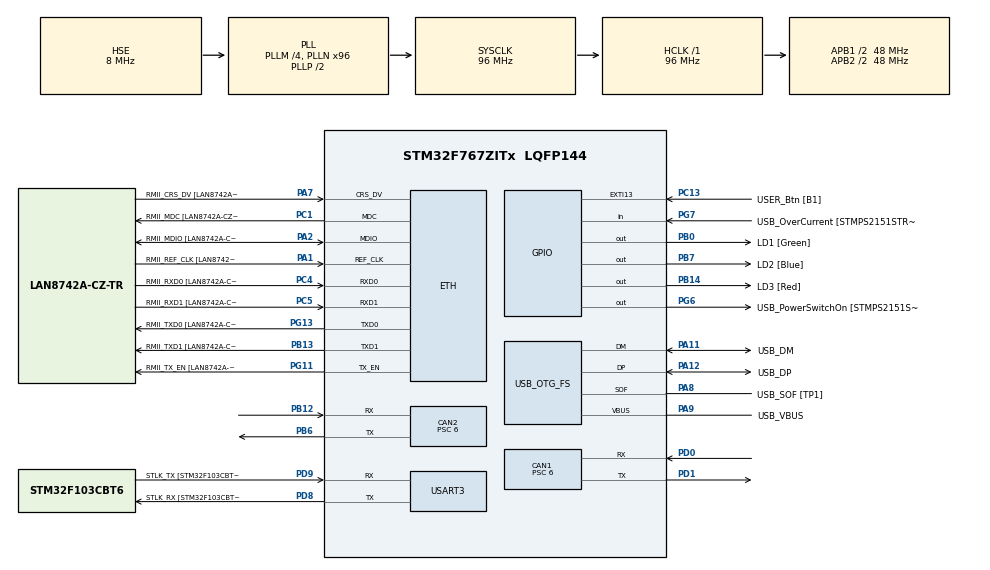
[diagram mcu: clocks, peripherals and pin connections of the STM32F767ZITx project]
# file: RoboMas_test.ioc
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CAN1.BS1=CAN_BS1_6TQ
CAN1.CalculateBaudRate=1000000
CAN1.CalculateTimeBit=1000
CAN1.CalculateTimeQuantum=125.0
CAN1.Prescaler=6
CAN1.TXFP=ENABLE
CAN2.BS1=CAN_BS1_6TQ
CAN2.CalculateBaudRate=1000000
CAN2.CalculateTimeBit=1000
CAN2.CalculateTimeQuantum=125.0
CAN2.Prescaler=6
CAN2.TXFP=ENABLE
Dma.Request0=USART3_TX
Dma.USART3_TX.0.Direction=DMA_MEMORY_TO_PERIPH
Dma.USART3_TX.0.FIFOMode=DMA_FIFOMODE_DISABLE
Dma.USART3_TX.0.Instance=DMA1_Stream3
Dma.USART3_TX.0.MemDataAlignment=DMA_MDATAALIGN_BYTE
Dma.USART3_TX.0.MemInc=DMA_MINC_ENABLE
Dma.USART3_TX.0.Mode=DMA_NORMAL
Dma.USART3_TX.0.PeriphDataAlignment=DMA_PDATAALIGN_BYTE
Dma.USART3_TX.0.PeriphInc=DMA_PINC_DISABLE
Dma.USART3_TX.0.Priority=DMA_PRIORITY_LOW
ETH.MediaInterface=HAL_ETH_RMII_MODE
ETH.PHY_Name=LAN8742A_PHY_ADDRESS
ETH.PHY_Value=0
ETH.PhyAddress=0
Mcu.Family=STM32F7
Mcu.Name=STM32F767ZITx
Mcu.Package=LQFP144
NVIC.CAN1_RX0_IRQn=true\:0\:0\:false\:false\:true\:true\:true\:true
NVIC.CAN1_RX1_IRQn=true\:0\:0\:false\:false\:true\:true\:true\:true
NVIC.CAN1_TX_IRQn=true\:0\:0\:false\:false\:true\:true\:true\:true
NVIC.CAN2_RX0_IRQn=true\:0\:0\:false\:false\:true\:true\:true\:true
NVIC.CAN2_RX1_IRQn=true\:0\:0\:false\:false\:true\:true\:true\:true
NVIC.CAN2_TX_IRQn=true\:0\:0\:false\:false\:true\:true\:true\:true
NVIC.DMA1_Stream3_IRQn=true\:0\:0\:false\:false\:true\:false\:true\:true
NVIC.PriorityGroup=NVIC_PRIORITYGROUP_4
NVIC.USART3_IRQn=true\:0\:0\:false\:false\:true\:true\:true\:true
PA1.GPIO_Label=RMII_REF_CLK [LAN8742A-CZ-TR_REFCLK0]
PA1.Mode=RMII
PA1.Signal=ETH_REF_CLK
PA10.GPIO_Label=USB_ID
PA10.Signal=USB_OTG_FS_ID
PA11.GPIO_Label=USB_DM
PA11.Mode=Device_Only
PA11.Signal=USB_OTG_FS_DM
PA12.GPIO_Label=USB_DP
PA12.Mode=Device_Only
PA12.Signal=USB_OTG_FS_DP
PA13.GPIO_Label=TMS
PA13.Mode=Serial_Wire
PA13.Signal=SYS_JTMS-SWDIO
PA14.GPIO_Label=TCK
PA14.Mode=Serial_Wire
PA14.Signal=SYS_JTCK-SWCLK
PA2.GPIO_Label=RMII_MDIO [LAN8742A-CZ-TR_MDIO]
PA2.Mode=RMII
PA2.Signal=ETH_MDIO
PA7.GPIO_Label=RMII_CRS_DV [LAN8742A-CZ-TR_CRS_DV]
PA7.Mode=RMII
PA7.Signal=ETH_CRS_DV
PA8.GPIO_Label=USB_SOF [TP1]
PA8.Mode=Activate_SOF_FS
PA8.Signal=USB_OTG_FS_SOF
PA9.GPIO_Label=USB_VBUS
PA9.Mode=Activate_VBUS
PA9.Signal=USB_OTG_FS_VBUS
PB0.GPIO_Label=LD1 [Green]
PB0.Signal=GPIO_Output
PB12.Mode=CAN_Activate
PB12.Signal=CAN2_RX
PB13.GPIO_Label=RMII_TXD1 [LAN8742A-CZ-TR_TXD1]
PB13.Mode=RMII
PB13.Signal=ETH_TXD1
PB14.GPIO_Label=LD3 [Red]
PB14.Signal=GPIO_Output
PB3.GPIO_Label=SWO
PB3.Signal=SYS_JTDO-SWO
PB6.Mode=CAN_Activate
PB6.Signal=CAN2_TX
PB7.GPIO_Label=LD2 [Blue]
PB7.Signal=GPIO_Output
PC1.GPIO_Label=RMII_MDC [LAN8742A-CZ-TR_MDC]
PC1.Mode=RMII
PC1.Signal=ETH_MDC
PC13.GPIO_Label=USER_Btn [B1]
PC13.Signal=GPXTI13
PC14/OSC32_IN.Mode=LSE-External-Oscillator
PC14/OSC32_IN.Signal=RCC_OSC32_IN
PC15/OSC32_OUT.Mode=LSE-External-Oscillator
PC15/OSC32_OUT.Signal=RCC_OSC32_OUT
PC4.GPIO_Label=RMII_RXD0 [LAN8742A-CZ-TR_RXD0]
PC4.Mode=RMII
PC4.Signal=ETH_RXD0
PC5.GPIO_Label=RMII_RXD1 [LAN8742A-CZ-TR_RXD1]
PC5.Mode=RMII
PC5.Signal=ETH_RXD1
PD0.Mode=CAN_Activate
PD0.Signal=CAN1_RX
PD1.Mode=CAN_Activate
PD1.Signal=CAN1_TX
PD8.GPIO_Label=STLK_RX [STM32F103CBT6_PA3]
PD8.Mode=Asynchronous
PD8.Signal=USART3_TX
PD9.GPIO_Label=STLK_TX [STM32F103CBT6_PA2]
PD9.Mode=Asynchronous
PD9.Signal=USART3_RX
PG11.GPIO_Label=RMII_TX_EN [LAN8742A-CZ-TR_TXEN]
PG11.Mode=RMII
PG11.Signal=ETH_TX_EN
PG13.GPIO_Label=RMII_TXD0 [LAN8742A-CZ-TR_TXD0]
PG13.Mode=RMII
PG13.Signal=ETH_TXD0
PG6.GPIO_Label=USB_PowerSwitchOn [STMPS2151STR_EN]
PG6.Signal=GPIO_Output
PG7.GPIO_Label=USB_OverCurrent [STMPS2151STR_FAULT]
PG7.Signal=GPIO_Input
PH0/OSC_IN.GPIO_Label=MCO [STM32F103CBT6_PA8]
PH0/OSC_IN.Mode=HSE-External-Clock-Source
PH0/OSC_IN.Signal=RCC_OSC_IN
PH1/OSC_OUT.Mode=HSE-External-Clock-Source
PH1/OSC_OUT.Signal=RCC_OSC_OUT
ProjectManager.HeapSize=0x200
ProjectManager.StackSize=0x400
ProjectManager.TargetToolchain=STM32CubeIDE
RCC.48MHZClocksFreq_Value=24000000
RCC.AHBFreq_Value=96000000
RCC.APB1CLKDivider=RCC_HCLK_DIV2
RCC.APB1Freq_Value=48000000
RCC.APB1TimFreq_Value=96000000
RCC.APB2CLKDivider=RCC_HCLK_DIV2
RCC.APB2Freq_Value=48000000
RCC.APB2TimFreq_Value=96000000
RCC.CortexFreq_Value=96000000
RCC.HCLKFreq_Value=96000000
RCC.HSE_VALUE=8000000
RCC.HSI_VALUE=16000000
RCC.PLLM=4
RCC.PLLMUL=RCC_PLL_MUL9
RCC.PLLN=96
RCC.PLLQ=4
RCC.PRESCALERUSB=RCC_USBCLKSOURCE_PLL_DIV1_5
RCC.SYSCLKFreq_VALUE=96000000
RCC.SYSCLKSource=RCC_SYSCLKSOURCE_PLLCLK
RCC.SYSCLKSourceVirtual=RCC_SYSCLKSOURCE_PLLCLK
RCC.USBFreq_Value=48000000
RCC.VCOOutputFreq_Value=192000000
USART3.VirtualMode-Asynchronous=VM_ASYNC
USB_OTG_FS.VirtualMode=Device_Only
board=NUCLEO-F767ZI

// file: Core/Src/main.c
/* USER CODE BEGIN Header */
/**
  ******************************************************************************
  * @file           : main.c
  * @brief          : Main program body
  ******************************************************************************
  * @attention
  *
  * Copyright (c) 2024 STMicroelectronics.
  * All rights reserved.
  *
  * This software is licensed under terms that can be found in the LICENSE file
  * in the root directory of this software component.
  * If no LICENSE file comes with this software, it is provided AS-IS.
  *
  ******************************************************************************
  */
/* USER CODE END Header */
#include "main.h"
#include "string.h"

/* USER CODE BEGIN Includes */
#include "stdio.h"
#include "CAN_Main.h"
#include "CAN_C620.h"
/* USER CODE END Includes */

/* USER CODE BEGIN PD */
#define DISABLE_CAN_WAIT_CONNECT 0
#define DISABLE_C620_WAIT_CONNECT 0

//#define mcmd
#define c620
//適宜コメントアウト

/* USER CODE END PD */

#if defined ( __ICCARM__ ) /*!< IAR Compiler */
#pragma location=0x2007c000
ETH_DMADescTypeDef  DMARxDscrTab[ETH_RX_DESC_CNT]; /* Ethernet Rx DMA Descriptors */
#pragma location=0x2007c0a0
ETH_DMADescTypeDef  DMATxDscrTab[ETH_TX_DESC_CNT]; /* Ethernet Tx DMA Descriptors */

#elif defined ( __CC_ARM )  /* MDK ARM Compiler */

__attribute__((at(0x2007c000))) ETH_DMADescTypeDef  DMARxDscrTab[ETH_RX_DESC_CNT]; /* Ethernet Rx DMA Descriptors */
__attribute__((at(0x2007c0a0))) ETH_DMADescTypeDef  DMATxDscrTab[ETH_TX_DESC_CNT]; /* Ethernet Tx DMA Descriptors */

#elif defined ( __GNUC__ ) /* GNU Compiler */
ETH_DMADescTypeDef DMARxDscrTab[ETH_RX_DESC_CNT] __attribute__((section(".RxDecripSection"))); /* Ethernet Rx DMA Descriptors */
ETH_DMADescTypeDef DMATxDscrTab[ETH_TX_DESC_CNT] __attribute__((section(".TxDecripSection")));   /* Ethernet Tx DMA Descriptors */

#endif

ETH_TxPacketConfig TxConfig;

CAN_HandleTypeDef hcan1;
CAN_HandleTypeDef hcan2;

ETH_HandleTypeDef heth;

UART_HandleTypeDef huart3;
DMA_HandleTypeDef hdma_usart3_tx;

PCD_HandleTypeDef hpcd_USB_OTG_FS;

/* USER CODE BEGIN PV */
#ifdef mcmd
NUM_OF_DEVICES num_of_devices;

MCMD_HandleTypedef mcmd4_struct;

MCMD_Feedback_Typedef mcmd_fb;
#endif

#ifdef c620
uint8_t num_of_c620 = 1;

C620_DeviceInfo c620_dev_info_global[8];

C620_FeedbackData c620_fb[8];
#endif

/* USER CODE END PV */

void SystemClock_Config(void);
static void MX_GPIO_Init(void);
static void MX_DMA_Init(void);
static void MX_USART3_UART_Init(void);
static void MX_ETH_Init(void);
static void MX_CAN1_Init(void);
static void MX_CAN2_Init(void);
static void MX_USB_OTG_FS_PCD_Init(void);

/* USER CODE BEGIN 0 */

#ifdef __GNUC__
#define PUTCHAR_PROTOTYPE int __io_putchar(uint8_t ch)
#else
#define PUTCHAR_PROTOTYPE int fputc(int ch, FILE *f)
#endif /* __GNUC__ */

PUTCHAR_PROTOTYPE {
    HAL_UART_Transmit(&huart3, &ch, 1, 500);
    return ch;
}

#if defined(mcmd) || defined(c620)
void HAL_CAN_TxMailbox0CompleteCallback(CAN_HandleTypeDef *hcan){
    C620_WhenTxMailboxCompleteCallbackCalled(hcan);
    CANLib_WhenTxMailbox0_1_2CompleteCallbackCalled(hcan);
}

void HAL_CAN_TxMailbox0AbortCallback(CAN_HandleTypeDef *hcan){
    C620_WhenTxMailboxAbortCallbackCalled(hcan);
    CANLib_WhenTxMailbox0_1_2AbortCallbackCalled(hcan);
}

void HAL_CAN_TxMailbox1CompleteCallback(CAN_HandleTypeDef *hcan){
    C620_WhenTxMailboxCompleteCallbackCalled(hcan);
    CANLib_WhenTxMailbox0_1_2CompleteCallbackCalled(hcan);
}

void HAL_CAN_TxMailbox1AbortCallback(CAN_HandleTypeDef *hcan){
    C620_WhenTxMailboxAbortCallbackCalled(hcan);
    CANLib_WhenTxMailbox0_1_2AbortCallbackCalled(hcan);
}

void HAL_CAN_TxMailbox2CompleteCallback(CAN_HandleTypeDef *hcan){
    C620_WhenTxMailboxCompleteCallbackCalled(hcan);
    CANLib_WhenTxMailbox0_1_2CompleteCallbackCalled(hcan);
}

void HAL_CAN_TxMailbox2AbortCallback(CAN_HandleTypeDef *hcan){
    C620_WhenTxMailboxAbortCallbackCalled(hcan);
    CANLib_WhenTxMailbox0_1_2AbortCallbackCalled(hcan);
}
#endif

#ifdef mcmd
void HAL_CAN_RxFifo0MsgPendingCallback(CAN_HandleTypeDef *hcan){
    WhenCANRxFifo0MsgPending(hcan, &num_of_devices);
}
#endif

#ifdef c620
void HAL_CAN_RxFifo1MsgPendingCallback(CAN_HandleTypeDef *hcan){
    C620_WhenCANRxFifo1MsgPending(hcan);
}
#endif

/* USER CODE END 0 */

int main(void)
{

  /* MCU Configuration--------------------------------------------------------*/

  /* Reset of all peripherals, Initializes the Flash interface and the Systick. */
  HAL_Init();

  /* Configure the system clock */
  SystemClock_Config();

  /* Initialize all configured peripherals */
  MX_GPIO_Init();
  MX_DMA_Init();
  MX_USART3_UART_Init();
  MX_ETH_Init();
  MX_CAN1_Init();
  MX_CAN2_Init();
  MX_USB_OTG_FS_PCD_Init();
  /* USER CODE BEGIN 2 */

  setbuf(stdout, NULL);
  setbuf(stderr, NULL);

#ifdef mcmd
  printf("Start Initializing CAN System:Begin\n\r");
  HAL_Delay(100);

  CAN_SystemInit(&hcan2); // F7のCAN通信のinit

   // デバイス数の設定 (今回はmcmd4が1枚)
  num_of_devices.mcmd3 = 1;
  num_of_devices.mcmd4 = 0;
  num_of_devices.air = 0;
  num_of_devices.servo = 0;

  printf("Start Initializing CAN System:End\n\r");
  HAL_Delay(100);
  if(!DISABLE_CAN_WAIT_CONNECT)CAN_WaitConnect(&num_of_devices);  // 設定された全てのCANモジュール基板との接続が確認できるまで待機

	   // ここからはCANモジュール基板の設定
	 // 接続先のMCMDの設定
	 mcmd4_struct.device.node_type = NODE_MCMD3;  // nodeのタイプ (NODE_MCMD3など)
	 mcmd4_struct.device.node_id = 1;  // 基板の番号 (基板上の半固定抵抗を回す事で設定できる)
	 mcmd4_struct.device.device_num = 0;  // モーターの番号(MCMDなら0と1の2つが選べる)

	 // 制御パラメータの設定
	 mcmd4_struct.ctrl_param.ctrl_type = MCMD_CTRL_DUTY;  // 位置制御を行う
	 mcmd4_struct.ctrl_param.PID_param.kp = 0.10f;  // Pゲイン 0.10
	 mcmd4_struct.ctrl_param.PID_param.ki = 0.0f;  // Iゲイン 0.0
	 mcmd4_struct.ctrl_param.PID_param.kd = 0.0f;  // Dゲイン 0.0 (Dゲインは使いにくい)
	 mcmd4_struct.ctrl_param.accel_limit = ACCEL_LIMIT_ENABLE;  // PIDの偏差をclipするか
	 mcmd4_struct.ctrl_param.accel_limit_size = 2.0f;  // PIDの偏差をclipする場合の絶対値のmax値
	 mcmd4_struct.ctrl_param.feedback = MCMD_FB_ENABLE;  // MCMDからF7にフィードバックを送信するか否か
	 mcmd4_struct.ctrl_param.timup_monitor = TIMUP_MONITOR_DISABLE;  // timeupは未実装なのでDISABLE。
	 mcmd4_struct.enc_dir = MCMD_DIR_FW;  // Encoderの回転方向設定
	 mcmd4_struct.rot_dir = MCMD_DIR_FW;  // モーターの回転方向設定
	 mcmd4_struct.quant_per_unit = 0.00205f;  // エンコーダーの分解能に対する制御値の変化量の割合

	 // 原点サーチの設定
	 mcmd4_struct.limit_sw_type = LIMIT_SW_NC;  // 原点サーチにNomaly Closedのスイッチを用いる
	 mcmd4_struct.calib = CALIBRATION_DISABLE;  // 原点サーチを行う。
	 mcmd4_struct.calib_duty = -0.1f;  // 原点サーチ時のduty
	 mcmd4_struct.offset = 0.0f;  // 原点のオフセット
	 mcmd4_struct.fb_type = MCMD_FB_POS;  // 読み取った位置情報をF7にフィードバックする。

	 // パラメータなどの設定と動作命令をMCMDに送信する
	MCMD_init(&mcmd4_struct);
	HAL_Delay(10);
	MCMD_Calib(&mcmd4_struct);  // キャリブレーションを行う
	HAL_Delay(2000);  // キャリブレーションが終わるまで待つ
	MCMD_SetTarget(&mcmd4_struct, 0.0f);  // 目標値(0.0)を設定
	HAL_Delay(10);
	MCMD_Control_Enable(&mcmd4_struct);  // 制御開始
	HAL_Delay(10);
    MCMD_SetTarget(&mcmd4_struct, 0.10f);
    HAL_Delay(10);
#endif

#ifdef c620
//   printf("Start Initializing CAN System for C620:Begin\n\r");
//   HAL_Delay(100);
//
//   CAN_SystemInit(&hcan1);
//
//   printf("Start Initializing CAN System for C620:End\n\r");
//   HAL_Delay(100);
//   C620_WaitForConnect(c620_dev_info_global, num_of_c620);  // C620の接続待ち

    HAL_GPIO_TogglePin(GPIOB, GPIO_PIN_0);  // LD1 (GREEN) ON
    Init_C620_CAN_System(&hcan1);  // Init CAN System for C620
    C620_Init(c620_dev_info_global, num_of_c620);

   c620_dev_info_global[0].device_id = 1;  // 1スタートな事に注意
   c620_dev_info_global[0].ctrl_param.accel_limit = C620_ACCEL_LIMIT_ENABLE;
//   c620_dev_info_global[0].ctrl_param.use_internal_offset = C620_USE_OFFSET_POS_DISABLE;
//   c620_dev_info_global[0].ctrl_param.use_internal_offset = C620_USE_OFFSET_POS_INTERNAL;
   c620_dev_info_global[0].ctrl_param.use_internal_offset = C620_USE_OFFSET_POS_CALIB;
   c620_dev_info_global[0].ctrl_param.ctrl_type = C620_CTRL_POS;
   c620_dev_info_global[0].ctrl_param.accel_limit_size = 15.0f;
   c620_dev_info_global[0].ctrl_param.quant_per_rot = 1.0f/19.0f / 3.0f * 3.141592f * 2.0f;  //M3508は19:1
   c620_dev_info_global[0].ctrl_param.rotation = C620_ROT_ACW;  // 半時計周り

   c620_dev_info_global[0].ctrl_param.pid_vel.kp = 4.5f;  // 位置制御の場合はpid_velに速度制御用のgainを設定する
   c620_dev_info_global[0].ctrl_param.pid_vel.ki = 0.0f;
   c620_dev_info_global[0].ctrl_param.pid_vel.kd = 0.0f;
   c620_dev_info_global[0].ctrl_param.pid_vel.kff = 0.0f;

   c620_dev_info_global[0].ctrl_param.pid.kp = 10.0f;  // 位置制御用
   c620_dev_info_global[0].ctrl_param.pid.ki = 0.16f;
   c620_dev_info_global[0].ctrl_param.pid.kd = 0.0f;
   c620_dev_info_global[0].ctrl_param.pid.kff = 0.0f;

// TODO:Init,Calibrationの必要性
   C620_SetTarget(&c620_dev_info_global[0], 10.0f);
   HAL_Delay(10);
   if(!DISABLE_C620_WAIT_CONNECT)C620_WaitForConnect(c620_dev_info_global, num_of_c620);
   HAL_Delay(10);
//   C620_Calibration(&c620_dev_info_global[0], -1.0f, 1, GPIOG, GPIO_PIN_1, &hcan1);
//   HAL_Delay(1000);

 //   c620_send_current(&c620_dev_info_global[0], 1.0f, &hcan1);

   C620_ControlEnable(&c620_dev_info_global[0]);
   HAL_Delay(10);
   C620_SetTarget(&c620_dev_info_global[0], 1.0f);  // 目標値を設定

//   for(int i=0; i<num_of_c620; i++)C620_SetTarget(&c620_dev_info_global[i], 0.0f);
//   if(!DISABLE_C620_WAIT_CONNECT)C620_WaitForConnect(c620_dev_info_global, num_of_c620);
//    for(int i=0; i<num_of_c620; i++){
//        C620_Calibration(&c620_dev_info_global[i], -0.5f, 1, GPIOG, GPIO_PIN_1, &hcan1);
//        C620_ControlEnable(&(c620_dev_info_global[i]));
//    }
//   //for(int i=0; i<num_of_c620; i++)C620_ControlEnable(&(c620_dev_info_global[i]));
//
//
//   C620_SetTarget(&c620_dev_info_global[0],100.0f);
//   HAL_GPIO_TogglePin(GPIOB, GPIO_PIN_0);

#endif

  /* USER CODE END 2 */

  /* Infinite loop */
  /* USER CODE BEGIN WHILE */
  while (1)
  {
#ifdef mcmd
	  mcmd_fb = Get_MCMD_Feedback(&(mcmd4_struct.device));
	  printf("value of mcmd3 %d\r\n",(int)(mcmd_fb.value));
	  HAL_Delay(5);
#endif

#ifdef c620
	  for(int i=0;i<num_of_c620;i++){
		  c620_fb[i] = Get_C620_FeedbackData(&c620_dev_info_global[i]);
		  printf("value of c620[%d] %d\r\n",i,(int)(c620_fb[i].position));
		  HAL_Delay(5);
	  }
#endif
    /* USER CODE END WHILE */

  }
}

void SystemClock_Config(void)
{
  RCC_OscInitTypeDef RCC_OscInitStruct = {0};
  RCC_ClkInitTypeDef RCC_ClkInitStruct = {0};

  /** Configure LSE Drive Capability
  */
  HAL_PWR_EnableBkUpAccess();

  /** Configure the main internal regulator output voltage
  */
  __HAL_RCC_PWR_CLK_ENABLE();
  __HAL_PWR_VOLTAGESCALING_CONFIG(PWR_REGULATOR_VOLTAGE_SCALE3);

  /** Initializes the RCC Oscillators according to the specified parameters
  * in the RCC_OscInitTypeDef structure.
  */
  RCC_OscInitStruct.OscillatorType = RCC_OSCILLATORTYPE_HSE;
  RCC_OscInitStruct.HSEState = RCC_HSE_BYPASS;
  RCC_OscInitStruct.PLL.PLLState = RCC_PLL_ON;
  RCC_OscInitStruct.PLL.PLLSource = RCC_PLLSOURCE_HSE;
  RCC_OscInitStruct.PLL.PLLM = 4;
  RCC_OscInitStruct.PLL.PLLN = 96;
  RCC_OscInitStruct.PLL.PLLP = RCC_PLLP_DIV2;
  RCC_OscInitStruct.PLL.PLLQ = 4;
  RCC_OscInitStruct.PLL.PLLR = 2;
  if (HAL_RCC_OscConfig(&RCC_OscInitStruct) != HAL_OK)
  {
    Error_Handler();
  }

  /** Activate the Over-Drive mode
  */
  if (HAL_PWREx_EnableOverDrive() != HAL_OK)
  {
    Error_Handler();
  }

  /** Initializes the CPU, AHB and APB buses clocks
  */
  RCC_ClkInitStruct.ClockType = RCC_CLOCKTYPE_HCLK|RCC_CLOCKTYPE_SYSCLK
                              |RCC_CLOCKTYPE_PCLK1|RCC_CLOCKTYPE_PCLK2;
  RCC_ClkInitStruct.SYSCLKSource = RCC_SYSCLKSOURCE_PLLCLK;
  RCC_ClkInitStruct.AHBCLKDivider = RCC_SYSCLK_DIV1;
  RCC_ClkInitStruct.APB1CLKDivider = RCC_HCLK_DIV2;
  RCC_ClkInitStruct.APB2CLKDivider = RCC_HCLK_DIV2;

  if (HAL_RCC_ClockConfig(&RCC_ClkInitStruct, FLASH_LATENCY_3) != HAL_OK)
  {
    Error_Handler();
  }
}

static void MX_CAN1_Init(void)
{

  hcan1.Instance = CAN1;
  hcan1.Init.Prescaler = 6;
  hcan1.Init.Mode = CAN_MODE_NORMAL;
  hcan1.Init.SyncJumpWidth = CAN_SJW_1TQ;
  hcan1.Init.TimeSeg1 = CAN_BS1_6TQ;
  hcan1.Init.TimeSeg2 = CAN_BS2_1TQ;
  hcan1.Init.TimeTriggeredMode = DISABLE;
  hcan1.Init.AutoBusOff = DISABLE;
  hcan1.Init.AutoWakeUp = DISABLE;
  hcan1.Init.AutoRetransmission = DISABLE;
  hcan1.Init.ReceiveFifoLocked = DISABLE;
  hcan1.Init.TransmitFifoPriority = ENABLE;
  if (HAL_CAN_Init(&hcan1) != HAL_OK)
  {
    Error_Handler();
  }

}

static void MX_CAN2_Init(void)
{

  hcan2.Instance = CAN2;
  hcan2.Init.Prescaler = 6;
  hcan2.Init.Mode = CAN_MODE_NORMAL;
  hcan2.Init.SyncJumpWidth = CAN_SJW_1TQ;
  hcan2.Init.TimeSeg1 = CAN_BS1_6TQ;
  hcan2.Init.TimeSeg2 = CAN_BS2_1TQ;
  hcan2.Init.TimeTriggeredMode = DISABLE;
  hcan2.Init.AutoBusOff = DISABLE;
  hcan2.Init.AutoWakeUp = DISABLE;
  hcan2.Init.AutoRetransmission = DISABLE;
  hcan2.Init.ReceiveFifoLocked = DISABLE;
  hcan2.Init.TransmitFifoPriority = ENABLE;
  if (HAL_CAN_Init(&hcan2) != HAL_OK)
  {
    Error_Handler();
  }

}

static void MX_ETH_Init(void)
{

   static uint8_t MACAddr[6];

  heth.Instance = ETH;
  MACAddr[0] = 0x00;
  MACAddr[1] = 0x80;
  MACAddr[2] = 0xE1;
  MACAddr[3] = 0x00;
  MACAddr[4] = 0x00;
  MACAddr[5] = 0x00;
  heth.Init.MACAddr = &MACAddr[0];
  heth.Init.MediaInterface = HAL_ETH_RMII_MODE;
  heth.Init.TxDesc = DMATxDscrTab;
  heth.Init.RxDesc = DMARxDscrTab;
  heth.Init.RxBuffLen = 1524;

  if (HAL_ETH_Init(&heth) != HAL_OK)
  {
    Error_Handler();
  }

  memset(&TxConfig, 0 , sizeof(ETH_TxPacketConfig));
  TxConfig.Attributes = ETH_TX_PACKETS_FEATURES_CSUM | ETH_TX_PACKETS_FEATURES_CRCPAD;
  TxConfig.ChecksumCtrl = ETH_CHECKSUM_IPHDR_PAYLOAD_INSERT_PHDR_CALC;
  TxConfig.CRCPadCtrl = ETH_CRC_PAD_INSERT;

}

static void MX_USART3_UART_Init(void)
{

  huart3.Instance = USART3;
  huart3.Init.BaudRate = 115200;
  huart3.Init.WordLength = UART_WORDLENGTH_8B;
  huart3.Init.StopBits = UART_STOPBITS_1;
  huart3.Init.Parity = UART_PARITY_NONE;
  huart3.Init.Mode = UART_MODE_TX_RX;
  huart3.Init.HwFlowCtl = UART_HWCONTROL_NONE;
  huart3.Init.OverSampling = UART_OVERSAMPLING_16;
  huart3.Init.OneBitSampling = UART_ONE_BIT_SAMPLE_DISABLE;
  huart3.AdvancedInit.AdvFeatureInit = UART_ADVFEATURE_NO_INIT;
  if (HAL_UART_Init(&huart3) != HAL_OK)
  {
    Error_Handler();
  }

}

static void MX_USB_OTG_FS_PCD_Init(void)
{

  hpcd_USB_OTG_FS.Instance = USB_OTG_FS;
  hpcd_USB_OTG_FS.Init.dev_endpoints = 6;
  hpcd_USB_OTG_FS.Init.speed = PCD_SPEED_FULL;
  hpcd_USB_OTG_FS.Init.dma_enable = DISABLE;
  hpcd_USB_OTG_FS.Init.phy_itface = PCD_PHY_EMBEDDED;
  hpcd_USB_OTG_FS.Init.Sof_enable = ENABLE;
  hpcd_USB_OTG_FS.Init.low_power_enable = DISABLE;
  hpcd_USB_OTG_FS.Init.lpm_enable = DISABLE;
  hpcd_USB_OTG_FS.Init.vbus_sensing_enable = ENABLE;
  hpcd_USB_OTG_FS.Init.use_dedicated_ep1 = DISABLE;
  if (HAL_PCD_Init(&hpcd_USB_OTG_FS) != HAL_OK)
  {
    Error_Handler();
  }

}

static void MX_DMA_Init(void)
{

  /* DMA controller clock enable */
  __HAL_RCC_DMA1_CLK_ENABLE();

  /* DMA interrupt init */
  /* DMA1_Stream3_IRQn interrupt configuration */
  HAL_NVIC_SetPriority(DMA1_Stream3_IRQn, 0, 0);
  HAL_NVIC_EnableIRQ(DMA1_Stream3_IRQn);

}

static void MX_GPIO_Init(void)
{
  GPIO_InitTypeDef GPIO_InitStruct = {0};

  /* GPIO Ports Clock Enable */
  __HAL_RCC_GPIOC_CLK_ENABLE();
  __HAL_RCC_GPIOH_CLK_ENABLE();
  __HAL_RCC_GPIOA_CLK_ENABLE();
  __HAL_RCC_GPIOB_CLK_ENABLE();
  __HAL_RCC_GPIOD_CLK_ENABLE();
  __HAL_RCC_GPIOG_CLK_ENABLE();

  /*Configure GPIO pin Output Level */
  HAL_GPIO_WritePin(GPIOB, LD1_Pin|LD3_Pin|LD2_Pin, GPIO_PIN_RESET);

  /*Configure GPIO pin Output Level */
  HAL_GPIO_WritePin(USB_PowerSwitchOn_GPIO_Port, USB_PowerSwitchOn_Pin, GPIO_PIN_RESET);

  /*Configure GPIO pin : USER_Btn_Pin */
  GPIO_InitStruct.Pin = USER_Btn_Pin;
  GPIO_InitStruct.Mode = GPIO_MODE_IT_RISING;
  GPIO_InitStruct.Pull = GPIO_NOPULL;
  HAL_GPIO_Init(USER_Btn_GPIO_Port, &GPIO_InitStruct);

  /*Configure GPIO pins : LD1_Pin LD3_Pin LD2_Pin */
  GPIO_InitStruct.Pin = LD1_Pin|LD3_Pin|LD2_Pin;
  GPIO_InitStruct.Mode = GPIO_MODE_OUTPUT_PP;
  GPIO_InitStruct.Pull = GPIO_NOPULL;
  GPIO_InitStruct.Speed = GPIO_SPEED_FREQ_LOW;
  HAL_GPIO_Init(GPIOB, &GPIO_InitStruct);

  /*Configure GPIO pin : USB_PowerSwitchOn_Pin */
  GPIO_InitStruct.Pin = USB_PowerSwitchOn_Pin;
  GPIO_InitStruct.Mode = GPIO_MODE_OUTPUT_PP;
  GPIO_InitStruct.Pull = GPIO_NOPULL;
  GPIO_InitStruct.Speed = GPIO_SPEED_FREQ_LOW;
  HAL_GPIO_Init(USB_PowerSwitchOn_GPIO_Port, &GPIO_InitStruct);

  /*Configure GPIO pin : USB_OverCurrent_Pin */
  GPIO_InitStruct.Pin = USB_OverCurrent_Pin;
  GPIO_InitStruct.Mode = GPIO_MODE_INPUT;
  GPIO_InitStruct.Pull = GPIO_NOPULL;
  HAL_GPIO_Init(USB_OverCurrent_GPIO_Port, &GPIO_InitStruct);

}

void Error_Handler(void)
{
  __disable_irq();
  while (1)
  {
  }
}
